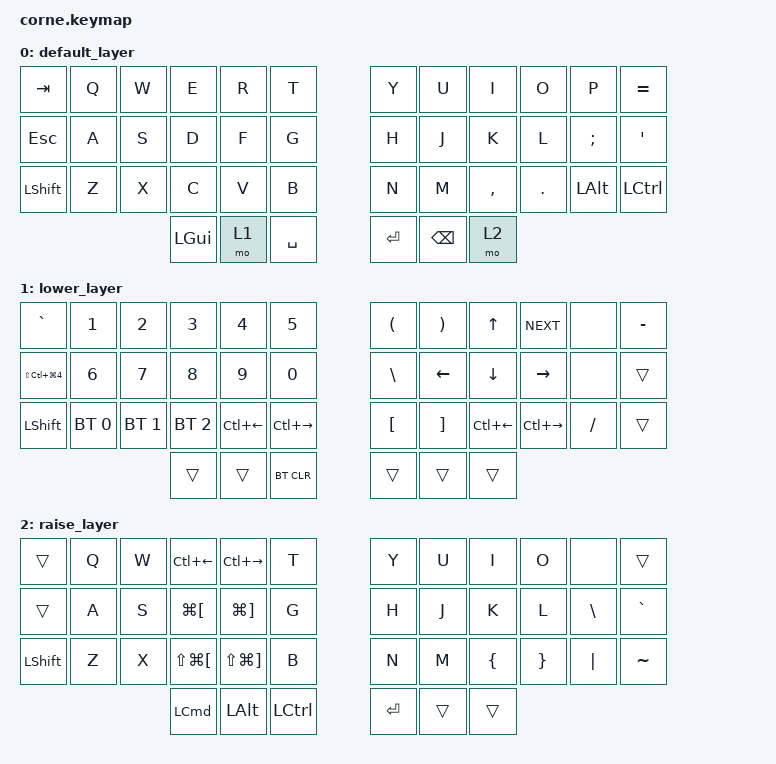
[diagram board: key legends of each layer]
/*
 * Copyright (c) 2020 The ZMK Contributors
 *
 * SPDX-License-Identifier: MIT
 */

#include <behaviors.dtsi>
#include <dt-bindings/zmk/bt.h>
#include <dt-bindings/zmk/keys.h>

/ {
    macros {
        macro1: macro1 {
            compatible = "zmk,behavior-macro";
            #binding-cells = <0>;
            bindings = <&kp LEFT_CONTROL &kp LEFT_ARROW>;
            label = "MACRO1";
        };

        macro2: macro2 {
            compatible = "zmk,behavior-macro";
            #binding-cells = <0>;
            bindings = <&kp LEFT_CONTROL &kp RIGHT_ARROW>;
            label = "MACRO2";
        };
    };

    keymap {
        compatible = "zmk,keymap";

        default_layer {
            // -----------------------------------------------------------------------------------------
            // |  TAB |  Q  |  W  |  E  |  R  |  T  |   |  Y  |  U   |  I  |  O  |  P  | BSPC |
            // | CTRL |  A  |  S  |  D  |  F  |  G  |   |  H  |  J   |  K  |  L  |  ;  |  '   |
            // | SHFT |  Z  |  X  |  C  |  V  |  B  |   |  N  |  M   |  ,  |  .  |  /  | ESC  |
            //                    | GUI | LWR | SPC |   | ENT | RSE  | ALT |

            bindings = <
&kp TAB         &kp Q  &kp W  &kp E     &kp R  &kp T        &kp Y      &kp U          &kp I      &kp O    &kp P         &kp EQUAL
&kp ESC         &kp A  &kp S  &kp D     &kp F  &kp G        &kp H      &kp J          &kp K      &kp L    &kp SEMI      &kp SQT
&kp LEFT_SHIFT  &kp Z  &kp X  &kp C     &kp V  &kp B        &kp N      &kp M          &kp COMMA  &kp DOT  &kp LEFT_ALT  &kp LEFT_CONTROL
                              &kp LGUI  &mo 1  &kp SPACE    &kp ENTER  &kp BACKSPACE  &mo 2
            >;
        };

        lower_layer {
            // -----------------------------------------------------------------------------------------
            // |  TAB |  1  |  2  |  3  |  4  |  5  |   |  6  |  7  |  8  |  9  |  0  | BSPC |
            // | BTCLR| BT1 | BT2 | BT3 | BT4 | BT5 |   | LFT | DWN |  UP | RGT |     |      |
            // | SHFT |     |     |     |     |     |   |     |     |     |     |     |      |
            //                    | GUI |     | SPC |   | ENT |     | ALT |

            bindings = <
&kp GRAVE                 &kp N1        &kp N2        &kp N3        &kp N4              &kp N5                 &kp LEFT_PARENTHESIS  &kp RIGHT_PARENTHESIS  &kp UP_ARROW        &kp C_NEXT           &none      &kp MINUS
&kp LS(LC(LG(NUMBER_4)))  &kp N6        &kp N7        &kp N8        &kp N9              &kp N0                 &kp BACKSLASH         &kp LEFT               &kp DOWN            &kp RIGHT            &none      &trans
&kp LSHIFT                &bt BT_SEL 0  &bt BT_SEL 1  &bt BT_SEL 2  &kp LC(LEFT_ARROW)  &kp LC(RIGHT_ARROW)    &kp LEFT_BRACKET      &kp RIGHT_BRACKET      &kp LC(LEFT_ARROW)  &kp LC(RIGHT_ARROW)  &kp SLASH  &trans
                                                      &trans        &trans              &bt BT_CLR             &trans                &trans                 &trans
            >;
        };

        raise_layer {
            // -----------------------------------------------------------------------------------------
            // |  TAB |  !  |  @  |  #  |  $  |  %  |   |  ^  |  &  |  *  |  (  |  )  | BSPC |
            // | CTRL |     |     |     |     |     |   |  -  |  =  |  [  |  ]  |  \  |  `   |
            // | SHFT |     |     |     |     |     |   |  _  |  +  |  {  |  }  | "|" |  ~   |
            //                    | GUI |     | SPC |   | ENT |     | ALT |

            bindings = <
&trans          &kp Q  &kp W  &kp LC(LEFT_ARROW)        &kp LC(RIGHT_ARROW)        &kp T        &kp Y      &kp U   &kp I     &kp O     &none     &trans
&trans          &kp A  &kp S  &kp LG(LEFT_BRACKET)      &kp LG(RIGHT_BRACKET)      &kp G        &kp H      &kp J   &kp K     &kp L     &kp BSLH  &kp GRAVE
&kp LEFT_SHIFT  &kp Z  &kp X  &kp LS(LG(LEFT_BRACKET))  &kp LS(LG(RIGHT_BRACKET))  &kp B        &kp N      &kp M   &kp LBRC  &kp RBRC  &kp PIPE  &kp TILDE
                              &kp LEFT_COMMAND          &kp LEFT_ALT               &kp LCTRL    &kp ENTER  &trans  &trans
            >;
        };
    };
};
